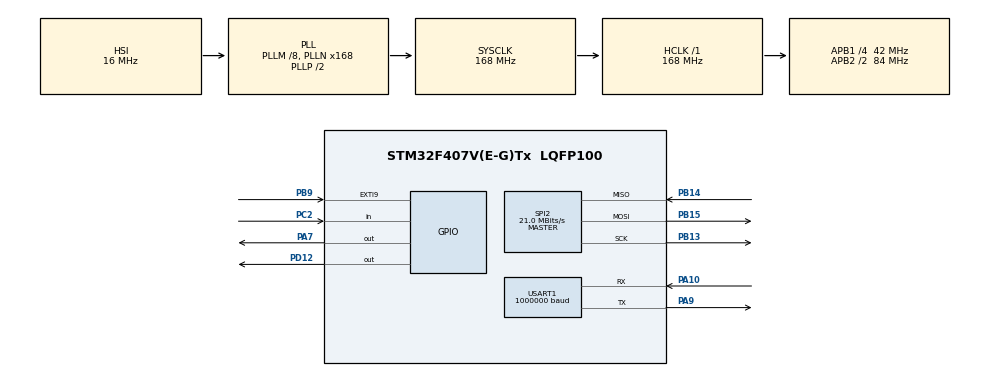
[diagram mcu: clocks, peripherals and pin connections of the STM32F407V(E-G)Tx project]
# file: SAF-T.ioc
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Mcu.Family=STM32F4
Mcu.Name=STM32F407V(E-G)Tx
Mcu.Package=LQFP100
NVIC.EXTI9_5_IRQn=true\:0\:0\:false\:false\:true\:true\:true\:true
NVIC.PriorityGroup=NVIC_PRIORITYGROUP_4
PA10.Mode=Asynchronous
PA10.Signal=USART1_RX
PA7.Signal=GPIO_Output
PA9.Mode=Asynchronous
PA9.Signal=USART1_TX
PB13.Mode=Full_Duplex_Master
PB13.Signal=SPI2_SCK
PB14.Mode=Full_Duplex_Master
PB14.Signal=SPI2_MISO
PB15.Mode=Full_Duplex_Master
PB15.Signal=SPI2_MOSI
PB9.GPIO_PuPd=GPIO_NOPULL
PB9.Signal=GPXTI9
PC2.Signal=GPIO_Input
PD12.Signal=GPIO_Output
ProjectManager.HeapSize=0x200
ProjectManager.StackSize=0x400
ProjectManager.TargetToolchain=STM32CubeIDE
RCC.48MHZClocksFreq_Value=84000000
RCC.AHBFreq_Value=168000000
RCC.APB1CLKDivider=RCC_HCLK_DIV4
RCC.APB1Freq_Value=42000000
RCC.APB1TimFreq_Value=84000000
RCC.APB2CLKDivider=RCC_HCLK_DIV2
RCC.APB2Freq_Value=84000000
RCC.APB2TimFreq_Value=168000000
RCC.CortexFreq_Value=168000000
RCC.HCLKFreq_Value=168000000
RCC.HSE_VALUE=25000000
RCC.HSI_VALUE=16000000
RCC.LSE_VALUE=32768
RCC.PLLM=8
RCC.PLLN=168
RCC.SYSCLKFreq_VALUE=168000000
RCC.SYSCLKSource=RCC_SYSCLKSOURCE_PLLCLK
RCC.VCOOutputFreq_Value=336000000
SPI2.CalculateBaudRate=21.0 MBits/s
SPI2.Direction=SPI_DIRECTION_2LINES
SPI2.Mode=SPI_MODE_MASTER
SPI2.VirtualType=VM_MASTER
USART1.BaudRate=1000000
USART1.VirtualMode=VM_ASYNC
board=custom

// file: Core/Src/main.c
/* USER CODE BEGIN Header */
/**
  ******************************************************************************
  * @file           : main.c
  * @brief          : Main program body
  ******************************************************************************
  * @attention
  *
  * Copyright (c) 2024 STMicroelectronics.
  * All rights reserved.
  *
  * This software is licensed under terms that can be found in the LICENSE file
  * in the root directory of this software component.
  * If no LICENSE file comes with this software, it is provided AS-IS.
  *
  ******************************************************************************
  */
/* USER CODE END Header */
#include "main.h"

/* USER CODE BEGIN Includes */

//#include "BMP280_SPI.h"
//#include "BMP280_SPI_2.h"
#include "MPU6500_SPI.h"
#include "math.h"
#include <stdio.h>
#include <stdlib.h>
#include <time.h>
#include "DEFINES.h"
#include "Utility.h"

/* USER CODE END Includes */

SPI_HandleTypeDef hspi2;

UART_HandleTypeDef huart1;

/* USER CODE BEGIN PV */

int contador = 0;
float RollRef, PitchRef;

						//valor cru da temperatura

/* USER CODE END PV */

void SystemClock_Config(void);
static void MX_GPIO_Init(void);
static void MX_USART1_UART_Init(void);
static void MX_SPI2_Init(void);

int main(void)
{

  /* MCU Configuration--------------------------------------------------------*/

  /* Reset of all peripherals, Initializes the Flash interface and the Systick. */
  HAL_Init();

  /* Configure the system clock */
  SystemClock_Config();

  /* USER CODE BEGIN SysInit */
  Utility_Init();
  /* USER CODE END SysInit */

  /* Initialize all configured peripherals */
  MX_GPIO_Init();
  MX_USART1_UART_Init();
  MX_SPI2_Init();

  /* Infinite loop */
  /* USER CODE BEGIN WHILE */

  	SPI2_Init();		//inicialização da interface SPI2

	printf("\n--------  Exemplo de aplicação de uso MPU-6500 via SPI  --------\n\n");

	MPU6500_Config();

	  //Configuração do acesso via DMA
	SPI2->CR2 |= SPI_CR2_TXDMAEN;	//habilita solicitações DMA no TX do SPI2
	SPI2->CR2 |= SPI_CR2_RXDMAEN;	//habilita solicitações DMA no RX do SPI2
	DMA1_Config();
	PB9_Int_Config();

//	HAL_FLASH_Unlock();
//	FLASH_ClearFlag(FLASH_FLAG_EOP | FLASH_FLAG_OPERR | FLASH_FLAG_WRPERR | FLASH_FLAG_PGAERR | FLASH_FLAG_PGSERR );
//	FLASH_Erase_Sector(FLASH_SECTOR_11, FLASH_VOLTAGE_RANGE_3);
//	HAL_FLASH_Lock();

	if(HAL_GPIO_ReadPin(GPIOC, GPIO_PIN_2) == GPIO_PIN_SET)
		calibration_DMT();
	else
		leitura_flash();

  while (1) {

		if (Sensor_Data_Ready) {

			inercial_signals();

		    kalman_1d(&KalmanAngleRoll, &KalmanUncertaintyAngleRoll, &RateRoll, &AngleRoll);
			KalmanAngleRoll = Kalman1DOutput[0];
			KalmanUncertaintyAngleRoll = Kalman1DOutput[1];
			kalman_1d(&KalmanAnglePitch, &KalmanUncertaintyAnglePitch, &RatePitch, &AnglePitch);
			KalmanAnglePitch = Kalman1DOutput[0];
			KalmanUncertaintyAnglePitch = Kalman1DOutput[1];

//			printf("ROLL = %.1f°  PITCH = = %.1f°\n", KalmanAngleRoll, KalmanAnglePitch);
//			printf("TEMP = %.1f°C\n\n\n", TEMP);

			Sensor_Data_Ready = FALSE;

			if (contador == 50) {
				RollRef = KalmanAngleRoll;
				PitchRef = KalmanAnglePitch;
				contador++;

			} else if (contador > 50) {
				if (((KalmanAngleRoll > (RollRef + 10.0))
						|| (KalmanAngleRoll < (RollRef - 10.0)))
						|| ((KalmanAnglePitch > (PitchRef + 10.0))
								|| (KalmanAnglePitch < (PitchRef - 10.0)))) {
					printf("Estado de mobilidade: 1\n");
				} else
					printf("Estado de mobilidade: 0\n");

			} else
				contador++;
		}

    /* USER CODE END WHILE */

	}
}

void SystemClock_Config(void)
{
  RCC_OscInitTypeDef RCC_OscInitStruct = {0};
  RCC_ClkInitTypeDef RCC_ClkInitStruct = {0};

  /** Configure the main internal regulator output voltage
  */
  __HAL_RCC_PWR_CLK_ENABLE();
  __HAL_PWR_VOLTAGESCALING_CONFIG(PWR_REGULATOR_VOLTAGE_SCALE1);

  /** Initializes the RCC Oscillators according to the specified parameters
  * in the RCC_OscInitTypeDef structure.
  */
  RCC_OscInitStruct.OscillatorType = RCC_OSCILLATORTYPE_HSI;
  RCC_OscInitStruct.HSIState = RCC_HSI_ON;
  RCC_OscInitStruct.HSICalibrationValue = RCC_HSICALIBRATION_DEFAULT;
  RCC_OscInitStruct.PLL.PLLState = RCC_PLL_ON;
  RCC_OscInitStruct.PLL.PLLSource = RCC_PLLSOURCE_HSI;
  RCC_OscInitStruct.PLL.PLLM = 8;
  RCC_OscInitStruct.PLL.PLLN = 168;
  RCC_OscInitStruct.PLL.PLLP = RCC_PLLP_DIV2;
  RCC_OscInitStruct.PLL.PLLQ = 4;
  if (HAL_RCC_OscConfig(&RCC_OscInitStruct) != HAL_OK)
  {
    Error_Handler();
  }

  /** Initializes the CPU, AHB and APB buses clocks
  */
  RCC_ClkInitStruct.ClockType = RCC_CLOCKTYPE_HCLK|RCC_CLOCKTYPE_SYSCLK
                              |RCC_CLOCKTYPE_PCLK1|RCC_CLOCKTYPE_PCLK2;
  RCC_ClkInitStruct.SYSCLKSource = RCC_SYSCLKSOURCE_PLLCLK;
  RCC_ClkInitStruct.AHBCLKDivider = RCC_SYSCLK_DIV1;
  RCC_ClkInitStruct.APB1CLKDivider = RCC_HCLK_DIV4;
  RCC_ClkInitStruct.APB2CLKDivider = RCC_HCLK_DIV2;

  if (HAL_RCC_ClockConfig(&RCC_ClkInitStruct, FLASH_LATENCY_5) != HAL_OK)
  {
    Error_Handler();
  }
}

static void MX_SPI2_Init(void)
{

  /* SPI2 parameter configuration*/
  hspi2.Instance = SPI2;
  hspi2.Init.Mode = SPI_MODE_MASTER;
  hspi2.Init.Direction = SPI_DIRECTION_2LINES;
  hspi2.Init.DataSize = SPI_DATASIZE_8BIT;
  hspi2.Init.CLKPolarity = SPI_POLARITY_LOW;
  hspi2.Init.CLKPhase = SPI_PHASE_1EDGE;
  hspi2.Init.NSS = SPI_NSS_SOFT;
  hspi2.Init.BaudRatePrescaler = SPI_BAUDRATEPRESCALER_2;
  hspi2.Init.FirstBit = SPI_FIRSTBIT_MSB;
  hspi2.Init.TIMode = SPI_TIMODE_DISABLE;
  hspi2.Init.CRCCalculation = SPI_CRCCALCULATION_DISABLE;
  hspi2.Init.CRCPolynomial = 10;
  if (HAL_SPI_Init(&hspi2) != HAL_OK)
  {
    Error_Handler();
  }

}

static void MX_USART1_UART_Init(void)
{

  huart1.Instance = USART1;
  huart1.Init.BaudRate = 1000000;
  huart1.Init.WordLength = UART_WORDLENGTH_8B;
  huart1.Init.StopBits = UART_STOPBITS_1;
  huart1.Init.Parity = UART_PARITY_NONE;
  huart1.Init.Mode = UART_MODE_TX_RX;
  huart1.Init.HwFlowCtl = UART_HWCONTROL_NONE;
  huart1.Init.OverSampling = UART_OVERSAMPLING_16;
  if (HAL_UART_Init(&huart1) != HAL_OK)
  {
    Error_Handler();
  }
  /* USER CODE BEGIN USART1_Init 2 */
	//Enable RX interrupt
	USART1->CR1 |= USART_CR1_RXNEIE;
	HAL_NVIC_EnableIRQ(USART1_IRQn);
	//Delay_ms(1);
  /* USER CODE END USART1_Init 2 */

}

static void MX_GPIO_Init(void)
{
  GPIO_InitTypeDef GPIO_InitStruct = {0};

  /* GPIO Ports Clock Enable */
  __HAL_RCC_GPIOC_CLK_ENABLE();
  __HAL_RCC_GPIOA_CLK_ENABLE();
  __HAL_RCC_GPIOB_CLK_ENABLE();
  __HAL_RCC_GPIOD_CLK_ENABLE();

  /*Configure GPIO pin Output Level */
  HAL_GPIO_WritePin(GPIOA, GPIO_PIN_7, GPIO_PIN_RESET);

  /*Configure GPIO pin Output Level */
  HAL_GPIO_WritePin(GPIOD, GPIO_PIN_12, GPIO_PIN_RESET);

  /*Configure GPIO pin : PC2 */
  GPIO_InitStruct.Pin = GPIO_PIN_2;
  GPIO_InitStruct.Mode = GPIO_MODE_INPUT;
  GPIO_InitStruct.Pull = GPIO_NOPULL;
  HAL_GPIO_Init(GPIOC, &GPIO_InitStruct);

  /*Configure GPIO pin : PA7 */
  GPIO_InitStruct.Pin = GPIO_PIN_7;
  GPIO_InitStruct.Mode = GPIO_MODE_OUTPUT_PP;
  GPIO_InitStruct.Pull = GPIO_NOPULL;
  GPIO_InitStruct.Speed = GPIO_SPEED_FREQ_LOW;
  HAL_GPIO_Init(GPIOA, &GPIO_InitStruct);

  /*Configure GPIO pin : PD12 */
  GPIO_InitStruct.Pin = GPIO_PIN_12;
  GPIO_InitStruct.Mode = GPIO_MODE_OUTPUT_PP;
  GPIO_InitStruct.Pull = GPIO_NOPULL;
  GPIO_InitStruct.Speed = GPIO_SPEED_FREQ_LOW;
  HAL_GPIO_Init(GPIOD, &GPIO_InitStruct);

  /*Configure GPIO pin : PB9 */
  GPIO_InitStruct.Pin = GPIO_PIN_9;
  GPIO_InitStruct.Mode = GPIO_MODE_IT_RISING;
  GPIO_InitStruct.Pull = GPIO_NOPULL;
  HAL_GPIO_Init(GPIOB, &GPIO_InitStruct);

  /* EXTI interrupt init*/
  HAL_NVIC_SetPriority(EXTI9_5_IRQn, 0, 0);
  HAL_NVIC_EnableIRQ(EXTI9_5_IRQn);

}

/* USER CODE BEGIN 4 */

void HAL_GPIO_EXTI_Callback(uint16_t GPIO_Pin)
{
	EXTI->PR |= (1 << 9);	//limpa o flag de pendência em EXTI9

	DMA1_Stream4->M0AR = (uint32_t) Tx_Data;//ponteiro do buffer dos dados a transmitir
	DMA1_Stream3->M0AR = (uint32_t) Rx_Data;//ponteiro do buffer dos dados a receber

	DMA1->LIFCR |= 0b111101 << 22;//limpa os flags de interrupção do stream 3 antes de reabilitá-lo
	DMA1->HIFCR |= 0b111101;//limpa os flags de interrupção do stream 4 antes de reabilitá-lo

	GPIOD->ODR &= ~(1 << 12);//faz o pino CS ir para nível baixo (inicia o comando SPI)
	DMA1_Stream3->CR |= DMA_SxCR_EN;	//reabilita o stream3 do DMA1 (SPI2_RX)
	DMA1_Stream4->CR |= DMA_SxCR_EN;	//reabilita o stream4 do DMA1 (SPI2_TX)

}

void DMA1_Stream3_IRQHandler(void)
{
	DMA1->LIFCR |= 0b111101 << 22;	//limpa as flags de interrupção
	GPIOD->ODR |= (1 << 12);		//faz o pino CS ir para nível alto (finaliza o comando SPI)
	Sensor_Data_Ready = TRUE;		//sinaliza que os dados estão prontos para processamento
}

int __io_putchar(int ch) {
	USART1->DR = (ch & (uint16_t) 0x01FF);
	while (!(USART1->SR & USART_SR_TXE))
		;//espera pelo fim da transmissão do caractere para evitar a segunda transmissão antes da primeira ser concluída
	return ch;
}
int __io_getchar(void) {
	return (uint16_t) (USART1->DR & (uint16_t) 0x01FF);
}
//ISR da USART1. Todas as ISR's estão definidas no arquivo startup_stm32.s
void USART1_IRQHandler(void) {
	__io_putchar(__io_getchar());
}

/* USER CODE END 4 */

void Error_Handler(void)
{
  __disable_irq();
  while (1)
  {
  }
}
